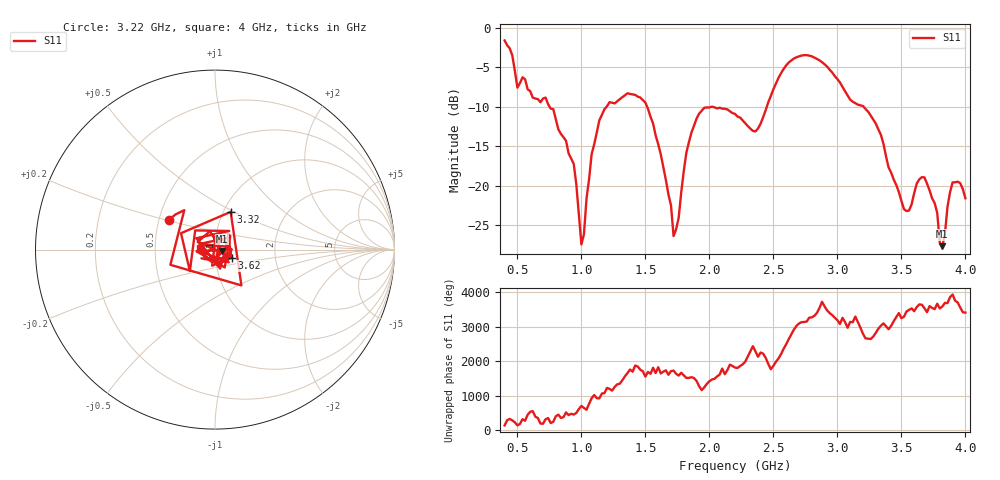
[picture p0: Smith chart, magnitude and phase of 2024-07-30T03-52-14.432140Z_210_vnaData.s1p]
!Created with skrf (http://scikit-rf.org).
# Hz S RI R 50.0
!freq ReS11 ImS11
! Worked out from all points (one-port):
!   181 points, 400 MHz to 4 GHz, reference 50 ohm
!   lowest |S11| = -27.6 dB at 3.82 GHz (marker M1), VSWR 1.09, Z = 54.3 - j0.815 ohm
!   |S11| at or under -10 dB: 751.5 MHz to 1.197 GHz (445 MHz wide, 45.7 % of centre); 1.514 GHz to 2.016 GHz (502.8 MHz wide, 28.5 % of centre); 3.205 GHz to end of sweep (the widest 3 of 4)
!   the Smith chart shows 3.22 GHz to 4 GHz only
!   S11 on the Smith chart (normalised r, x): 3.22 GHz: 0.56, +0.21; 3.32 GHz: 1.08, +0.48; 3.62 GHz: 1.20, -0.11; 4 GHz: 0.85, +0.02
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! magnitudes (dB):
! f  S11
! 400 MHz  -1.6
! 500 MHz  -7.6
! 720 MHz  -8.8
! 860 MHz  -13.8
! 940 MHz  -17.2
! 1 GHz  -27.4
! 1.08 GHz  -16.0
! 1.14 GHz  -11.7
! 1.3 GHz  -9.0
! 1.5 GHz  -9.5
! 1.62 GHz  -16.0
! 1.72 GHz  -26.3
! 1.76 GHz  -24.0
! 1.82 GHz  -15.8
! 1.92 GHz  -10.9
! 2.2 GHz  -10.9
! 2.36 GHz  -13.1
! 2.66 GHz  -3.9
! 2.86 GHz  -4.1
! 3.1 GHz  -9.1
! 3.22 GHz  -10.3
! 3.32 GHz  -12.9
! 3.56 GHz  -23.1
! 3.62 GHz  -19.7
! 3.7 GHz  -19.7
! 3.82 GHz  -27.6
! 3.9 GHz  -19.6
! 4 GHz  -21.6
